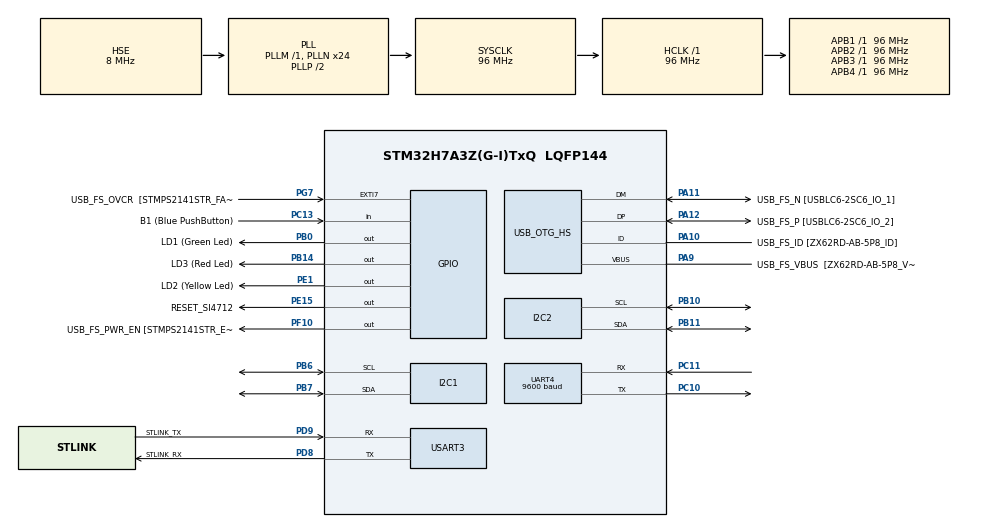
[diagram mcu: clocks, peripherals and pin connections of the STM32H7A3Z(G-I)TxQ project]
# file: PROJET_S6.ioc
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I2C1.Timing=0x10B0DCFB
I2C2.Timing=0x10B0DCFB
Mcu.Family=STM32H7
Mcu.Name=STM32H7A3Z(G-I)TxQ
Mcu.Package=LQFP144
NVIC.PriorityGroup=NVIC_PRIORITYGROUP_4
PA10.GPIO_Label=USB_FS_ID [ZX62RD-AB-5P8_ID]
PA10.Mode=OTG/Dual-Role-Device-FS
PA10.Signal=USB_OTG_HS_ID
PA11.GPIO_Label=USB_FS_N [USBLC6-2SC6_IO_1]
PA11.Mode=OTG/Dual-Role-Device-FS
PA11.Signal=USB_OTG_HS_DM
PA12.GPIO_Label=USB_FS_P [USBLC6-2SC6_IO_2]
PA12.Mode=OTG/Dual-Role-Device-FS
PA12.Signal=USB_OTG_HS_DP
PA9.GPIO_Label=USB_FS_VBUS  [ZX62RD-AB-5P8_VBUS]
PA9.Mode=Activate_VBUS_FS
PA9.Signal=USB_OTG_HS_VBUS
PB0.GPIO_Label=LD1 (Green Led)
PB0.Signal=GPIO_Output
PB10.Mode=I2C
PB10.Signal=I2C2_SCL
PB11.Mode=I2C
PB11.Signal=I2C2_SDA
PB14.GPIO_Label=LD3 (Red Led)
PB14.Signal=GPIO_Output
PB6.Mode=I2C
PB6.Signal=I2C1_SCL
PB7.Mode=I2C
PB7.Signal=I2C1_SDA
PC10.Mode=Asynchronous
PC10.Signal=UART4_TX
PC11.Mode=Asynchronous
PC11.Signal=UART4_RX
PC13.GPIO_Label=B1 (Blue PushButton)
PC13.Signal=GPIO_Input
PC14-OSC32_IN.GPIO_Label=OSC32_IN
PC14-OSC32_IN.Mode=LSE-External-Oscillator
PC14-OSC32_IN.Signal=RCC_OSC32_IN
PC15-OSC32_OUT.GPIO_Label=OSC32_OUT
PC15-OSC32_OUT.Mode=LSE-External-Oscillator
PC15-OSC32_OUT.Signal=RCC_OSC32_OUT
PD8.GPIO_Label=STLINK_RX
PD8.Mode=Asynchronous
PD8.Signal=USART3_TX
PD9.GPIO_Label=STLINK_TX
PD9.Mode=Asynchronous
PD9.Signal=USART3_RX
PE1.GPIO_Label=LD2 (Yellow Led)
PE1.Signal=GPIO_Output
PE15.GPIO_Label=RESET_SI4712
PE15.Signal=GPIO_Output
PF10.GPIO_Label=USB_FS_PWR_EN [STMPS2141STR_EN]
PF10.Signal=GPIO_Output
PG7.GPIO_Label=USB_FS_OVCR  [STMPS2141STR_FAULT]
PG7.Signal=GPXTI7
PH0-OSC_IN.GPIO_Label=PH0-MCU
PH0-OSC_IN.Mode=HSE-External-Clock-Source
PH0-OSC_IN.Signal=RCC_OSC_IN
PH1-OSC_OUT.GPIO_Label=PH1-MCU
PH1-OSC_OUT.Signal=RCC_OSC_OUT
ProjectManager.HeapSize=0x200
ProjectManager.StackSize=0x400
ProjectManager.TargetToolchain=STM32CubeIDE
RCC.ADCFreq_Value=16125000
RCC.APB1Freq_Value=96000000
RCC.APB2Freq_Value=96000000
RCC.APB3Freq_Value=96000000
RCC.APB4Freq_Value=96000000
RCC.CortexFreq_Value=96000000
RCC.DIVM1=1
RCC.DIVM3=1
RCC.DIVN1=24
RCC.DIVN3=24
RCC.DIVQ1=4
RCC.HCLKFreq_Value=96000000
RCC.HSE_VALUE=8000000
RCC.PLLFRACN=0
RCC.PLLSourceVirtual=RCC_PLLSOURCE_HSE
RCC.PWR_Regulator_Voltage_Scale=PWR_REGULATOR_VOLTAGE_SCALE0
RCC.SYSCLKFreq_VALUE=96000000
RCC.SYSCLKSource=RCC_SYSCLKSOURCE_PLLCLK
RCC.SupplySource=PWR_DIRECT_SMPS_SUPPLY
RCC.USBCLockSelection=RCC_USBCLKSOURCE_HSI48
RCC.USBFreq_Value=48000000
UART4.BaudRate=9600
USART3.VirtualMode-Asynchronous=VM_ASYNC
board=NUCLEO-H7A3ZI-Q

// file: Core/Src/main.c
/* USER CODE BEGIN Header */
/**
  ******************************************************************************
  * @file           : main.c
  * @brief          : Main program body
  ******************************************************************************
  * @attention
  *
  * Copyright (c) 2023 STMicroelectronics.
  * All rights reserved.
  *
  * This software is licensed under terms that can be found in the LICENSE file
  * in the root directory of this software component.
  * If no LICENSE file comes with this software, it is provided AS-IS.
  *
  ******************************************************************************
  */
/* USER CODE END Header */
#include "main.h"

/* USER CODE BEGIN Includes */
#include "ssd1306_conf.h"
#include "ssd1306.h"
/* USER CODE END Includes */

/* USER CODE BEGIN PD */
#define RADIO_ADDRESS 198
/* USER CODE END PD */

I2C_HandleTypeDef hi2c1;
I2C_HandleTypeDef hi2c2;

UART_HandleTypeDef huart4;
UART_HandleTypeDef huart3;

void SystemClock_Config(void);
static void MX_GPIO_Init(void);
static void MX_USART3_UART_Init(void);
static void MX_USB_OTG_HS_USB_Init(void);
static void MX_I2C1_Init(void);
static void MX_I2C2_Init(void);
static void MX_UART4_Init(void);

int main(void)
{
  /* USER CODE BEGIN 1 */

	char txt1[]  = "Hello World 3 !";
	char txt2[]  = "Radio started !";
  /* USER CODE END 1 */

  /* MCU Configuration--------------------------------------------------------*/

  /* Reset of all peripherals, Initializes the Flash interface and the Systick. */
  HAL_Init();

  /* Configure the system clock */
  SystemClock_Config();

  /* USER CODE BEGIN SysInit */

  uint8_t power_up[3] = {0x01, 0x12, 0x50}; //ou C2 a la place du 12
  uint8_t tuneFreq[4] = {0x30, 0x00, 0x29, 0xFE};
  uint8_t intStatus[1] = {0x14};
  uint8_t tuneStatus[2] = {0x33, 0x01};
  uint8_t tunePower[5] = {0x31, 0x00, 0x00, 115, 0x00};
  uint8_t power_up_res[3] = {};
  uint8_t hal_res[1] = {};
  uint8_t tx_res[8] = {};

  uint8_t gpsDataReceive[64] = {};

  HAL_StatusTypeDef dummy;
  HAL_StatusTypeDef gpsData;

  /* USER CODE END SysInit */

  /* Initialize all configured peripherals */
  MX_GPIO_Init();
  MX_USART3_UART_Init();
  MX_USB_OTG_HS_USB_Init();
  MX_I2C1_Init();
  MX_I2C2_Init();
  MX_UART4_Init();
  /* USER CODE BEGIN 2 */

  //ssd1306_Init();
  //ssd1306_WriteString(txt1, Font_6x8, White);
  //ssd1306_UpdateScreen();

  HAL_GPIO_WritePin(GPIOE,GPIO_PIN_15,0);		// Reset du composant
  HAL_Delay(500);
  HAL_GPIO_WritePin(GPIOE,GPIO_PIN_15,0);		// Reset du composant
  HAL_Delay(500);
  HAL_GPIO_WritePin(GPIOE,GPIO_PIN_15,1);
  HAL_Delay(50);

  // POWER UP RADIO
  dummy = HAL_I2C_Master_Transmit(&hi2c2, RADIO_ADDRESS, power_up, 3, -1);
  do{
	  dummy = HAL_I2C_Master_Receive(&hi2c2, RADIO_ADDRESS, power_up_res, 1, -1);
	  HAL_Delay(100);
  }while(power_up_res[0]!=0x80);

  // SET TX FREQ
  dummy = HAL_I2C_Master_Transmit(&hi2c2, RADIO_ADDRESS, tuneFreq, 4, -1);
  dummy = HAL_I2C_Master_Receive(&hi2c2, RADIO_ADDRESS, hal_res, 1, -1);
  HAL_Delay(100);

  //GET INT STATUS
  dummy = HAL_I2C_Master_Transmit(&hi2c2, RADIO_ADDRESS, intStatus, 1, -1);
  do{
	  dummy = HAL_I2C_Master_Receive(&hi2c2, RADIO_ADDRESS, hal_res, 1, -1);
	  HAL_Delay(10);
    }while(hal_res[0] !=0x81);

  //TX STATUS
  dummy = HAL_I2C_Master_Transmit(&hi2c2, RADIO_ADDRESS, tuneStatus, 2, -1);
  dummy = HAL_I2C_Master_Receive(&hi2c2, RADIO_ADDRESS, tx_res, 8, -1);

  //SET TX POWER Problem
  dummy = HAL_I2C_Master_Transmit(&hi2c2, RADIO_ADDRESS, tunePower, 5, -1);
  dummy = HAL_I2C_Master_Receive(&hi2c2, RADIO_ADDRESS, hal_res, 1, -1);
  HAL_Delay(100);

  //GET INT STATUS
  dummy = HAL_I2C_Master_Transmit(&hi2c2, RADIO_ADDRESS, intStatus, 1, -1);
    do{
  	  dummy = HAL_I2C_Master_Receive(&hi2c2, RADIO_ADDRESS, hal_res, 1, -1);
    	  HAL_Delay(10);
      }while(hal_res[0]!=0x81);

    //TX STATUS
    dummy = HAL_I2C_Master_Transmit(&hi2c2, RADIO_ADDRESS, tuneStatus, 2, -1);
    do{
      	  dummy = HAL_I2C_Master_Receive(&hi2c2, RADIO_ADDRESS, tx_res, 8, -1);
        	  HAL_Delay(100);
          }while(tx_res[0]!=0x80);

  //dummy = HAL_I2C_Master_Transmit(&hi2c2, RADIO_ADDRESS, tunePower, 4, -1);

    //OLED I2C4
    //I2C1 RADIO

  /* USER CODE END 2 */

  /* Infinite loop */
  /* USER CODE BEGIN WHILE */
  while (1)
  {
	  HAL_GPIO_TogglePin(GPIOB, GPIO_PIN_0);
	  HAL_Delay(500);

	  do{
		  gpsData = HAL_UART_Receive(&huart4, gpsDataReceive, 64, 10000);
	  }
	  while(gpsData!=HAL_OK);

	  /*
	  int i=0;
	  for (i=0; i<255; i++)
	  {
		  dummy = HAL_I2C_Master_Transmit(&hi2c2, i, power_up, 1, -1);

		  if (dummy == HAL_OK)
		  	  {
		  		  ssd1306_WriteString(txt2, Font_6x8, White);
		  	  }
	  } */

	  //HAL_I2C_Master_Transmit (I2C_HandleTypeDef * hi2c, uint16_t DevAddress, uint8_t* pData, uint16_t Size, uint32_t Timeout);

    /* USER CODE END WHILE */

  }
}

void SystemClock_Config(void)
{
  RCC_OscInitTypeDef RCC_OscInitStruct = {0};
  RCC_ClkInitTypeDef RCC_ClkInitStruct = {0};

  /*AXI clock gating */
  RCC->CKGAENR = 0xFFFFFFFF;

  /** Supply configuration update enable
  */
  HAL_PWREx_ConfigSupply(PWR_DIRECT_SMPS_SUPPLY);

  /** Configure the main internal regulator output voltage
  */
  __HAL_PWR_VOLTAGESCALING_CONFIG(PWR_REGULATOR_VOLTAGE_SCALE0);

  while(!__HAL_PWR_GET_FLAG(PWR_FLAG_VOSRDY)) {}

  /** Initializes the RCC Oscillators according to the specified parameters
  * in the RCC_OscInitTypeDef structure.
  */
  RCC_OscInitStruct.OscillatorType = RCC_OSCILLATORTYPE_HSI48|RCC_OSCILLATORTYPE_HSE;
  RCC_OscInitStruct.HSEState = RCC_HSE_BYPASS;
  RCC_OscInitStruct.HSI48State = RCC_HSI48_ON;
  RCC_OscInitStruct.PLL.PLLState = RCC_PLL_ON;
  RCC_OscInitStruct.PLL.PLLSource = RCC_PLLSOURCE_HSE;
  RCC_OscInitStruct.PLL.PLLM = 1;
  RCC_OscInitStruct.PLL.PLLN = 24;
  RCC_OscInitStruct.PLL.PLLP = 2;
  RCC_OscInitStruct.PLL.PLLQ = 4;
  RCC_OscInitStruct.PLL.PLLR = 2;
  RCC_OscInitStruct.PLL.PLLRGE = RCC_PLL1VCIRANGE_3;
  RCC_OscInitStruct.PLL.PLLVCOSEL = RCC_PLL1VCOWIDE;
  RCC_OscInitStruct.PLL.PLLFRACN = 0;
  if (HAL_RCC_OscConfig(&RCC_OscInitStruct) != HAL_OK)
  {
    Error_Handler();
  }

  /** Initializes the CPU, AHB and APB buses clocks
  */
  RCC_ClkInitStruct.ClockType = RCC_CLOCKTYPE_HCLK|RCC_CLOCKTYPE_SYSCLK
                              |RCC_CLOCKTYPE_PCLK1|RCC_CLOCKTYPE_PCLK2
                              |RCC_CLOCKTYPE_D3PCLK1|RCC_CLOCKTYPE_D1PCLK1;
  RCC_ClkInitStruct.SYSCLKSource = RCC_SYSCLKSOURCE_PLLCLK;
  RCC_ClkInitStruct.SYSCLKDivider = RCC_SYSCLK_DIV1;
  RCC_ClkInitStruct.AHBCLKDivider = RCC_HCLK_DIV1;
  RCC_ClkInitStruct.APB3CLKDivider = RCC_APB3_DIV1;
  RCC_ClkInitStruct.APB1CLKDivider = RCC_APB1_DIV1;
  RCC_ClkInitStruct.APB2CLKDivider = RCC_APB2_DIV1;
  RCC_ClkInitStruct.APB4CLKDivider = RCC_APB4_DIV1;

  if (HAL_RCC_ClockConfig(&RCC_ClkInitStruct, FLASH_LATENCY_2) != HAL_OK)
  {
    Error_Handler();
  }
}

static void MX_I2C1_Init(void)
{

  hi2c1.Instance = I2C1;
  hi2c1.Init.Timing = 0x10B0DCFB;
  hi2c1.Init.OwnAddress1 = 0;
  hi2c1.Init.AddressingMode = I2C_ADDRESSINGMODE_7BIT;
  hi2c1.Init.DualAddressMode = I2C_DUALADDRESS_DISABLE;
  hi2c1.Init.OwnAddress2 = 0;
  hi2c1.Init.OwnAddress2Masks = I2C_OA2_NOMASK;
  hi2c1.Init.GeneralCallMode = I2C_GENERALCALL_DISABLE;
  hi2c1.Init.NoStretchMode = I2C_NOSTRETCH_DISABLE;
  if (HAL_I2C_Init(&hi2c1) != HAL_OK)
  {
    Error_Handler();
  }

  /** Configure Analogue filter
  */
  if (HAL_I2CEx_ConfigAnalogFilter(&hi2c1, I2C_ANALOGFILTER_ENABLE) != HAL_OK)
  {
    Error_Handler();
  }

  /** Configure Digital filter
  */
  if (HAL_I2CEx_ConfigDigitalFilter(&hi2c1, 0) != HAL_OK)
  {
    Error_Handler();
  }

}

static void MX_I2C2_Init(void)
{

  hi2c2.Instance = I2C2;
  hi2c2.Init.Timing = 0x10B0DCFB;
  hi2c2.Init.OwnAddress1 = 0;
  hi2c2.Init.AddressingMode = I2C_ADDRESSINGMODE_7BIT;
  hi2c2.Init.DualAddressMode = I2C_DUALADDRESS_DISABLE;
  hi2c2.Init.OwnAddress2 = 0;
  hi2c2.Init.OwnAddress2Masks = I2C_OA2_NOMASK;
  hi2c2.Init.GeneralCallMode = I2C_GENERALCALL_DISABLE;
  hi2c2.Init.NoStretchMode = I2C_NOSTRETCH_DISABLE;
  if (HAL_I2C_Init(&hi2c2) != HAL_OK)
  {
    Error_Handler();
  }

  /** Configure Analogue filter
  */
  if (HAL_I2CEx_ConfigAnalogFilter(&hi2c2, I2C_ANALOGFILTER_ENABLE) != HAL_OK)
  {
    Error_Handler();
  }

  /** Configure Digital filter
  */
  if (HAL_I2CEx_ConfigDigitalFilter(&hi2c2, 0) != HAL_OK)
  {
    Error_Handler();
  }

}

static void MX_UART4_Init(void)
{

  huart4.Instance = UART4;
  huart4.Init.BaudRate = 9600;
  huart4.Init.WordLength = UART_WORDLENGTH_8B;
  huart4.Init.StopBits = UART_STOPBITS_1;
  huart4.Init.Parity = UART_PARITY_NONE;
  huart4.Init.Mode = UART_MODE_TX_RX;
  huart4.Init.HwFlowCtl = UART_HWCONTROL_NONE;
  huart4.Init.OverSampling = UART_OVERSAMPLING_16;
  huart4.Init.OneBitSampling = UART_ONE_BIT_SAMPLE_DISABLE;
  huart4.Init.ClockPrescaler = UART_PRESCALER_DIV1;
  huart4.AdvancedInit.AdvFeatureInit = UART_ADVFEATURE_NO_INIT;
  if (HAL_UART_Init(&huart4) != HAL_OK)
  {
    Error_Handler();
  }
  if (HAL_UARTEx_SetTxFifoThreshold(&huart4, UART_TXFIFO_THRESHOLD_1_8) != HAL_OK)
  {
    Error_Handler();
  }
  if (HAL_UARTEx_SetRxFifoThreshold(&huart4, UART_RXFIFO_THRESHOLD_1_8) != HAL_OK)
  {
    Error_Handler();
  }
  if (HAL_UARTEx_DisableFifoMode(&huart4) != HAL_OK)
  {
    Error_Handler();
  }

}

static void MX_USART3_UART_Init(void)
{

  huart3.Instance = USART3;
  huart3.Init.BaudRate = 115200;
  huart3.Init.WordLength = UART_WORDLENGTH_8B;
  huart3.Init.StopBits = UART_STOPBITS_1;
  huart3.Init.Parity = UART_PARITY_NONE;
  huart3.Init.Mode = UART_MODE_TX_RX;
  huart3.Init.HwFlowCtl = UART_HWCONTROL_NONE;
  huart3.Init.OverSampling = UART_OVERSAMPLING_16;
  huart3.Init.OneBitSampling = UART_ONE_BIT_SAMPLE_DISABLE;
  huart3.Init.ClockPrescaler = UART_PRESCALER_DIV1;
  huart3.AdvancedInit.AdvFeatureInit = UART_ADVFEATURE_NO_INIT;
  if (HAL_UART_Init(&huart3) != HAL_OK)
  {
    Error_Handler();
  }
  if (HAL_UARTEx_SetTxFifoThreshold(&huart3, UART_TXFIFO_THRESHOLD_1_8) != HAL_OK)
  {
    Error_Handler();
  }
  if (HAL_UARTEx_SetRxFifoThreshold(&huart3, UART_RXFIFO_THRESHOLD_1_8) != HAL_OK)
  {
    Error_Handler();
  }
  if (HAL_UARTEx_DisableFifoMode(&huart3) != HAL_OK)
  {
    Error_Handler();
  }

}

static void MX_USB_OTG_HS_USB_Init(void)
{

}

static void MX_GPIO_Init(void)
{
  GPIO_InitTypeDef GPIO_InitStruct = {0};

  /* GPIO Ports Clock Enable */
  __HAL_RCC_GPIOC_CLK_ENABLE();
  __HAL_RCC_GPIOF_CLK_ENABLE();
  __HAL_RCC_GPIOH_CLK_ENABLE();
  __HAL_RCC_GPIOB_CLK_ENABLE();
  __HAL_RCC_GPIOE_CLK_ENABLE();
  __HAL_RCC_GPIOD_CLK_ENABLE();
  __HAL_RCC_GPIOG_CLK_ENABLE();
  __HAL_RCC_GPIOA_CLK_ENABLE();

  /*Configure GPIO pin Output Level */
  HAL_GPIO_WritePin(USB_FS_PWR_EN_GPIO_Port, USB_FS_PWR_EN_Pin, GPIO_PIN_RESET);

  /*Configure GPIO pin Output Level */
  HAL_GPIO_WritePin(GPIOB, LD1_Pin|LD3_Pin, GPIO_PIN_RESET);

  /*Configure GPIO pin Output Level */
  HAL_GPIO_WritePin(GPIOE, RESET_SI4712_Pin|LD2_Pin, GPIO_PIN_RESET);

  /*Configure GPIO pin : B1_Pin */
  GPIO_InitStruct.Pin = B1_Pin;
  GPIO_InitStruct.Mode = GPIO_MODE_INPUT;
  GPIO_InitStruct.Pull = GPIO_NOPULL;
  HAL_GPIO_Init(B1_GPIO_Port, &GPIO_InitStruct);

  /*Configure GPIO pin : USB_FS_PWR_EN_Pin */
  GPIO_InitStruct.Pin = USB_FS_PWR_EN_Pin;
  GPIO_InitStruct.Mode = GPIO_MODE_OUTPUT_PP;
  GPIO_InitStruct.Pull = GPIO_NOPULL;
  GPIO_InitStruct.Speed = GPIO_SPEED_FREQ_LOW;
  HAL_GPIO_Init(USB_FS_PWR_EN_GPIO_Port, &GPIO_InitStruct);

  /*Configure GPIO pins : LD1_Pin LD3_Pin */
  GPIO_InitStruct.Pin = LD1_Pin|LD3_Pin;
  GPIO_InitStruct.Mode = GPIO_MODE_OUTPUT_PP;
  GPIO_InitStruct.Pull = GPIO_NOPULL;
  GPIO_InitStruct.Speed = GPIO_SPEED_FREQ_LOW;
  HAL_GPIO_Init(GPIOB, &GPIO_InitStruct);

  /*Configure GPIO pins : RESET_SI4712_Pin LD2_Pin */
  GPIO_InitStruct.Pin = RESET_SI4712_Pin|LD2_Pin;
  GPIO_InitStruct.Mode = GPIO_MODE_OUTPUT_PP;
  GPIO_InitStruct.Pull = GPIO_NOPULL;
  GPIO_InitStruct.Speed = GPIO_SPEED_FREQ_LOW;
  HAL_GPIO_Init(GPIOE, &GPIO_InitStruct);

  /*Configure GPIO pin : USB_FS_OVCR_Pin */
  GPIO_InitStruct.Pin = USB_FS_OVCR_Pin;
  GPIO_InitStruct.Mode = GPIO_MODE_IT_RISING;
  GPIO_InitStruct.Pull = GPIO_NOPULL;
  HAL_GPIO_Init(USB_FS_OVCR_GPIO_Port, &GPIO_InitStruct);

  /*Configure GPIO pin : USB_FS_VBUS_Pin */
  GPIO_InitStruct.Pin = USB_FS_VBUS_Pin;
  GPIO_InitStruct.Mode = GPIO_MODE_INPUT;
  GPIO_InitStruct.Pull = GPIO_NOPULL;
  HAL_GPIO_Init(USB_FS_VBUS_GPIO_Port, &GPIO_InitStruct);

  /*Configure GPIO pin : USB_FS_ID_Pin */
  GPIO_InitStruct.Pin = USB_FS_ID_Pin;
  GPIO_InitStruct.Mode = GPIO_MODE_AF_PP;
  GPIO_InitStruct.Pull = GPIO_NOPULL;
  GPIO_InitStruct.Speed = GPIO_SPEED_FREQ_LOW;
  GPIO_InitStruct.Alternate = GPIO_AF10_OTG1_HS;
  HAL_GPIO_Init(USB_FS_ID_GPIO_Port, &GPIO_InitStruct);

  /*Configure GPIO pins : USB_FS_N_Pin USB_FS_P_Pin */
  GPIO_InitStruct.Pin = USB_FS_N_Pin|USB_FS_P_Pin;
  GPIO_InitStruct.Mode = GPIO_MODE_AF_PP;
  GPIO_InitStruct.Pull = GPIO_NOPULL;
  GPIO_InitStruct.Speed = GPIO_SPEED_FREQ_LOW;
  HAL_GPIO_Init(GPIOA, &GPIO_InitStruct);

}

void Error_Handler(void)
{
  __disable_irq();
  while (1)
  {
  }
}
